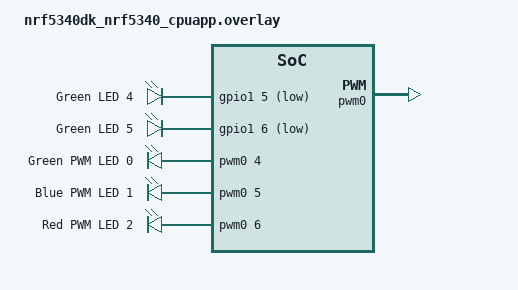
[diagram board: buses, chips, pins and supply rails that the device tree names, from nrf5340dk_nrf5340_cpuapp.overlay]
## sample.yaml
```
sample:
  name: OpenThread CoAP Server
  description: Test CoAP communication in Thread network
tests:
  samples.openthread.coap_server:
    build_only: true
    platform_allow: nrf5340dk_nrf5340_cpuapp nrf52840dk_nrf52840 nrf52833dk_nrf52833 nrf21540dk_nrf52840
    tags: ci_build drivers pwm
    filter: dt_enabled_alias_with_parent_compat("led0", "gpio-leds") and
            dt_alias_exists("red-pwm-led") and
            dt_alias_exists("green-pwm-led") and
            dt_alias_exists("blue-pwm-led")
    depends_on: gpio pwm
    harness: led
    integration_platforms:
      - nrf5340dk_nrf5340_cpuapp
      - nrf52840dk_nrf52840
      - nrf52833dk_nrf52833
      - nrf21540dk_nrf52840
```

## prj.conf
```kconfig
#
# Copyright (c) 2020 Nordic Semiconductor
#
# SPDX-License-Identifier: LicenseRef-Nordic-5-Clause
#

# nRF board library
CONFIG_DK_LIBRARY=y

# Enable OpenThread CoAP support API
CONFIG_OPENTHREAD_COAP=y

# Configure sample logging setting
CONFIG_COAP_SERVER_LOG_LEVEL_DBG=y
CONFIG_OT_COAP_UTILS_LOG_LEVEL_DBG=y

# Network shell
CONFIG_SHELL=y
CONFIG_OPENTHREAD_SHELL=y
CONFIG_SHELL_ARGC_MAX=26
CONFIG_SHELL_CMD_BUFF_SIZE=416

# Network sockets
CONFIG_NET_SOCKETS=y
CONFIG_NET_SOCKETS_POSIX_NAMES=y
CONFIG_NET_SOCKETS_POLL_MAX=4

# Same network Master Key for client and server
CONFIG_OPENTHREAD_NETWORKKEY="00:11:22:33:44:55:66:77:88:99:aa:bb:cc:dd:ee:ff"

CONFIG_GPIO=y
CONFIG_PWM=y

CONFIG_PRINTK=y
CONFIG_LOG=y
```

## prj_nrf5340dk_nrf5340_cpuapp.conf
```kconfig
#
# Copyright (c) 2020 Nordic Semiconductor
#
# SPDX-License-Identifier: LicenseRef-Nordic-5-Clause
#

# nRF board library
CONFIG_DK_LIBRARY=y

# Enable OpenThread CoAP support API
CONFIG_OPENTHREAD_COAP=y

# Configure sample logging setting
CONFIG_COAP_SERVER_LOG_LEVEL_DBG=y
CONFIG_OT_COAP_UTILS_LOG_LEVEL_DBG=y

# Network shell
CONFIG_NET_SHELL=y
CONFIG_SHELL_ARGC_MAX=26
CONFIG_SHELL_CMD_BUFF_SIZE=416

# Network sockets
CONFIG_NET_SOCKETS=y
CONFIG_NET_SOCKETS_POSIX_NAMES=y
CONFIG_NET_SOCKETS_POLL_MAX=4

# Same network Master Key for client and server
CONFIG_OPENTHREAD_NETWORKKEY="00:11:22:33:44:55:66:77:88:99:aa:bb:cc:dd:ee:ff"

# Default PRNG entropy for nRF53 Series devices is CSPRNG CC312
# which for that purpose is too slow yet
# Use Xoroshiro128+ as PRNG
CONFIG_XOROSHIRO_RANDOM_GENERATOR=y

CONFIG_GPIO=y
```

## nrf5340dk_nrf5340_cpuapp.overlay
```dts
/ {
	leds {
		led4: led_4 {
			gpios = <&gpio1 5 GPIO_ACTIVE_LOW>; /* LED3 was using gpio0 31, change to 26 so it can be used by led4 */
			label = "Green LED 4";
		};
		led5: led_5 {
			gpios = <&gpio1 6 GPIO_ACTIVE_LOW>; /* LED3 was using gpio0 31, change to 26 so it can be used by led4 */
			label = "Green LED 5";
		};
	};
	pwmleds {
		compatible = "pwm-leds";
		pwm_led0_green: pwm_led_0 {
			pwms = <&pwm0 4>;
			label = "Green PWM LED 0";
		};
		pwm_led1_blue: pwm_led_1 {
			pwms = <&pwm0 5>;
			label = "Blue PWM LED 1";
		};
		pwm_led2_red: pwm_led_2 {
			pwms = <&pwm0 6>;
			label = "Red PWM LED 2";
		};
	};
	aliases {
		led4 = &led4;
		led5 = &led5;
		green-pwm-led-custom = &pwm_led0_green;
		blue-pwm-led-custom  = &pwm_led1_blue;
		red-pwm-led-custom  = &pwm_led2_red;
	};
};

&pwm0 {
	status = "okay";
	ch0-pin = <4>;
	ch0-inverted;
	ch1-pin = <5>;
	ch1-inverted;
	ch2-pin = <6>;
	ch2-inverted;
};
```

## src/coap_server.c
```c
// /*
//  * Copyright (c) 2020 Nordic Semiconductor ASA
//  *
//  * SPDX-License-Identifier: LicenseRef-Nordic-5-Clause
//  */
//
// #include <zephyr.h>
// #include <dk_buttons_and_leds.h>
// #include <logging/log.h>
// #include <net/openthread.h>
// #include <openthread/thread.h>
//
// #include "ot_coap_utils.h"
// #include "led_handler.h"
//
// LOG_MODULE_REGISTER(coap_server, CONFIG_COAP_SERVER_LOG_LEVEL);
//
// #define OT_CONNECTION_LED DK_LED1
// #define PROVISIONING_LED DK_LED3
// #define LIGHT_LED_1 CST_LED1
// #define LIGHT_LED_2 CST_LED2
//
// #define PERIOD_USEC	(1000000 / 50U)
//
// static struct k_work provisioning_work;
//
// static struct k_timer led_timer;
// static struct k_timer provisioning_timer;
//
// static void on_light_request(uint8_t command)
// {
// 	static uint8_t val;
//
//
// 	switch (command) {
// 	case THREAD_COAP_UTILS_LIGHT_1_CMD_ON:
// 		cst_gpio_set_led_on(LIGHT_LED_1);
// 		val = 1;
// 		break;
//
// 	case THREAD_COAP_UTILS_LIGHT_1_CMD_OFF:
// 		cst_gpio_set_led_off(LIGHT_LED_1);
// 		val = 0;
// 		break;
//
// 	case THREAD_COAP_UTILS_LIGHT_2_CMD_ON:
// 		cst_gpio_set_led_on(LIGHT_LED_2);
// 		val = 1;
// 		break;
//
// 	case THREAD_COAP_UTILS_LIGHT_2_CMD_OFF:
// 		cst_gpio_set_led_off(LIGHT_LED_2);
// 		val = 0;
// 		break;
//
// 	case THREAD_COAP_UTILS_LIGHT_CMD_TOGGLE:
// 		val = !val;
// 		cst_gpio_set_led(LIGHT_LED_1, val);
// 		cst_gpio_set_led(LIGHT_LED_2, val);
// 		break;
// 	case THREAD_COAP_UTILS_RED_LIGHT:
// 		rgb_leds_set_red(PERIOD_USEC);
// 		break;
// 	case THREAD_COAP_UTILS_GREEN_LIGHT:
// 		rgb_leds_set_green(PERIOD_USEC);
// 		break;
// 	case THREAD_COAP_UTILS_BLUE_LIGHT:
// 		rgb_leds_set_blue(PERIOD_USEC);
// 		break;
//
// 	default:
// 		break;
// 	}
// }
//
// static void activate_provisioning(struct k_work *item)
// {
// 	ARG_UNUSED(item);
//
// 	ot_coap_activate_provisioning();
//
// 	k_timer_start(&led_timer, K_MSEC(100), K_MSEC(100));
// 	k_timer_start(&provisioning_timer, K_SECONDS(5), K_NO_WAIT);
//
// 	LOG_INF("Provisioning activated");
// }
//
// static void deactivate_provisionig(void)
// {
// 	k_timer_stop(&led_timer);
// 	k_timer_stop(&provisioning_timer);
//
// 	if (ot_coap_is_provisioning_active()) {
// 		ot_coap_deactivate_provisioning();
// 		LOG_INF("Provisioning deactivated");
// 	}
// }
//
// static void on_provisioning_timer_expiry(struct k_timer *timer_id)
// {
// 	ARG_UNUSED(timer_id);
//
// 	deactivate_provisionig();
// }
//
// static void on_led_timer_expiry(struct k_timer *timer_id)
// {
// 	static uint8_t val = 1;
//
// 	ARG_UNUSED(timer_id);
//
// 	dk_set_led(PROVISIONING_LED, val);
// 	val = !val;
// }
//
// static void on_led_timer_stop(struct k_timer *timer_id)
// {
// 	ARG_UNUSED(timer_id);
//
// 	dk_set_led_off(PROVISIONING_LED);
// }
//
// static void on_button_changed(uint32_t button_state, uint32_t has_changed)
// {
// 	uint32_t buttons = button_state & has_changed;
//
// 	if (buttons & DK_BTN4_MSK) {
// 		k_work_submit(&provisioning_work);
// 	}
// }
//
// static void on_thread_state_changed(uint32_t flags, void *context)
// {
// 	struct openthread_context *ot_context = context;
//
// 	if (flags & OT_CHANGED_THREAD_ROLE) {
// 		switch (otThreadGetDeviceRole(ot_context->instance)) {
// 		case OT_DEVICE_ROLE_CHILD:
// 		case OT_DEVICE_ROLE_ROUTER:
// 		case OT_DEVICE_ROLE_LEADER:
// 			dk_set_led_on(OT_CONNECTION_LED);
// 			break;
//
// 		case OT_DEVICE_ROLE_DISABLED:
// 		case OT_DEVICE_ROLE_DETACHED:
// 		default:
// 			dk_set_led_off(OT_CONNECTION_LED);
// 			deactivate_provisionig();
// 			break;
// 		}
// 	}
// }
//
// #define SLEEP_TIME_MS   1000
//
// void main(void)
// {
// 	int ret;
//
// 	LOG_INF("Start CoAP-server sample");
//
//
// 	k_timer_init(&led_timer, on_led_timer_expiry, on_led_timer_stop);
// 	k_timer_init(&provisioning_timer, on_provisioning_timer_expiry, NULL);
//
// 	k_work_init(&provisioning_work, activate_provisioning);
//
// 	ret = ot_coap_init(&deactivate_provisionig, &on_light_request);
// 	if (ret) {
// 		LOG_ERR("Could not initialize OpenThread CoAP");
// 		goto end;
// 	}
//
// 	ret = dk_leds_init();
// 	// ret = cst_rgb_leds_init();
// 	ret = gpio_leds_init();
// 	cst_gpio_set_led_on(LIGHT_LED_2);
// 	// rgb_leds_set_blue(PERIOD_USEC);
// 	if (ret) {
// 		LOG_ERR("Could not initialize leds, err code: %d", ret);
// 		goto end;
// 	}
//
// 	ret = dk_buttons_init(on_button_changed);
// 	if (ret) {
// 		LOG_ERR("Cannot init buttons (error: %d)", ret);
// 		goto end;
// 	}
//
// 	//openthread_set_state_changed_cb(on_thread_state_changed);
// 	//openthread_start(openthread_get_default_context());
//
// end:
// 	return;
// }

/*
 * Copyright (c) 2016 Intel Corporation
 *
 * SPDX-License-Identifier: Apache-2.0
 */

/**
 * @file Sample app to demonstrate PWM-based RGB LED control
 */

#include <zephyr.h>
#include <sys/printk.h>
#include <device.h>
#include <drivers/pwm.h>

/*
 * Extract devicetree configuration.
 */

#define RED_NODE DT_ALIAS(red_pwm_led_custom)
#define GREEN_NODE DT_ALIAS(green_pwm_led_custom)
#define BLUE_NODE DT_ALIAS(blue_pwm_led_custom)

#if DT_NODE_HAS_STATUS(RED_NODE, okay)
#define RED_CTLR_NODE	DT_PWMS_CTLR(RED_NODE)
#define RED_CHANNEL	DT_PWMS_CHANNEL(RED_NODE)
#define RED_FLAGS	DT_PWMS_FLAGS(RED_NODE)
#else
#error "Unsupported board: red-pwm-led devicetree alias is not defined"
#define RED_CTLR_NODE	DT_INVALID_NODE
#define RED_CHANNEL	0
#define RED_FLAGS	0
#endif

#if DT_NODE_HAS_STATUS(GREEN_NODE, okay)
#define GREEN_CTLR_NODE	DT_PWMS_CTLR(GREEN_NODE)
#define GREEN_CHANNEL	DT_PWMS_CHANNEL(GREEN_NODE)
#define GREEN_FLAGS	DT_PWMS_FLAGS(GREEN_NODE)
#else
#error "Unsupported board: green-pwm-led devicetree alias is not defined"
#define GREEN_CTLR_NODE	DT_INVALID_NODE
#define GREEN_CHANNEL	0
#define GREEN_FLAGS	0
#endif

#if DT_NODE_HAS_STATUS(BLUE_NODE, okay)
#define BLUE_CTLR_NODE	DT_PWMS_CTLR(BLUE_NODE)
#define BLUE_CHANNEL	DT_PWMS_CHANNEL(BLUE_NODE)
#define BLUE_FLAGS	DT_PWMS_FLAGS(BLUE_NODE)
#else
#error "Unsupported board: blue-pwm-led devicetree alias is not defined"
#define BLUE_CTLR_NODE	DT_INVALID_NODE
#define BLUE_CHANNEL	0
#define BLUE_FLAGS	0
#endif

/*
 * 50 is flicker fusion threshold. Modulated light will be perceived
 * as steady by our eyes when blinking rate is at least 50.
 */
#define PERIOD_USEC	(1000000U / 50U)
#define STEPSIZE_USEC	2000

static int pwm_set(const struct device *pwm_dev, uint32_t pwm_pin,
		     uint32_t pulse_width, pwm_flags_t flags)
{
	return pwm_pin_set_usec(pwm_dev, pwm_pin, PERIOD_USEC, pulse_width, flags);
}

enum { RED, GREEN, BLUE };

void main(void)
{
	const struct device *pwm_dev[3];
	uint32_t pulse_red, pulse_green, pulse_blue; /* pulse widths */
	int ret;

	// printf("%", BLUE_CTLR_NODE);

	printk("PWM-based RGB LED control\n");

	pwm_dev[RED] = DEVICE_DT_GET(RED_CTLR_NODE);
	pwm_dev[GREEN] = DEVICE_DT_GET(GREEN_CTLR_NODE);
	pwm_dev[BLUE] = DEVICE_DT_GET(BLUE_CTLR_NODE);

	if (!device_is_ready(pwm_dev[RED])) {
		printk("Error: red PWM device %s is not ready\n", pwm_dev[RED]->name);
		return;
	}

	if (!device_is_ready(pwm_dev[GREEN])) {
		printk("Error: green PWM device %s is not ready\n", pwm_dev[GREEN]->name);
		return;
	}

	if (!device_is_ready(pwm_dev[BLUE])) {
		printk("Error: blue PWM device %s is not ready\n", pwm_dev[BLUE]->name);
		return;
	}

	while (1) {
		for (pulse_red = 0U; pulse_red <= PERIOD_USEC; pulse_red += STEPSIZE_USEC) {
				ret = pwm_set(pwm_dev[RED], RED_CHANNEL, pulse_red, RED_FLAGS);
				if (ret != 0) {
					printk("Error %d: red write failed\n", ret);
					return;
				}
				printk("%i", pulse_red);
				k_sleep(K_SECONDS(1));
		}
  	ret = pwm_set(pwm_dev[RED], RED_CHANNEL, 0U, RED_FLAGS);

		if (ret != 0) {
            printk("Error %d: red write failed\n", ret);
            return;
    }


		k_sleep(K_SECONDS(1));
		for (pulse_green = 0U; pulse_green <= PERIOD_USEC; pulse_green += STEPSIZE_USEC) {
				ret = pwm_set(pwm_dev[GREEN], GREEN_CHANNEL,
					      pulse_green, GREEN_FLAGS);
				if (ret != 0) {
					printk("Error %d: green write failed\n", ret);
					return;
				}
				k_sleep(K_SECONDS(1));
		}

		ret = pwm_set(pwm_dev[GREEN], GREEN_CHANNEL, 0U, GREEN_FLAGS);
    if (ret != 0) {
            printk("Error %d: green write failed\n", ret);
            return;
    }
		k_sleep(K_SECONDS(1));
		//
		for (pulse_blue = 0U; pulse_blue <= PERIOD_USEC; pulse_blue += STEPSIZE_USEC) {
					ret = pwm_set(pwm_dev[BLUE], BLUE_CHANNEL, pulse_blue, BLUE_FLAGS);
					if (ret != 0) {
						printk("Error %d: blue write failed\n", ret);
						return;
					}
					k_sleep(K_SECONDS(1));
				}
			ret = pwm_set(pwm_dev[BLUE], BLUE_CHANNEL, 0U, BLUE_FLAGS);
	    if (ret != 0) {
	            printk("Error %d: blue write failed\n", ret);
	            return;
	    }
			k_sleep(K_SECONDS(1));
	}
}
```

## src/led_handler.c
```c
#include "led_handler.h"
#include <zephyr.h>
#include <logging/log.h>
#include <device.h>
#include <devicetree.h>
#include <drivers/gpio.h>
#include <drivers/pwm.h>

LOG_MODULE_REGISTER(led_handler, CONFIG_LOG_DEFAULT_LEVEL);

#define RED_NODE DT_ALIAS(red_pwm_led_custom)
#define GREEN_NODE DT_ALIAS(green_pwm_led_custom)
#define BLUE_NODE DT_ALIAS(blue_pwm_led_custom)

#if DT_NODE_HAS_STATUS(RED_NODE, okay)
#define RED_CTLR_NODE	DT_PWMS_CTLR(RED_NODE)
#define RED_CHANNEL	DT_PWMS_CHANNEL(RED_NODE)
#define RED_FLAGS	DT_PWMS_FLAGS(RED_NODE)
#endif

#if DT_NODE_HAS_STATUS(GREEN_NODE, okay)
#define GREEN_CTLR_NODE	DT_PWMS_CTLR(GREEN_NODE)
#define GREEN_CHANNEL	DT_PWMS_CHANNEL(GREEN_NODE)
#define GREEN_FLAGS	DT_PWMS_FLAGS(GREEN_NODE)
#endif

#if DT_NODE_HAS_STATUS(BLUE_NODE, okay)
#define BLUE_CTLR_NODE	DT_PWMS_CTLR(BLUE_NODE)
#define BLUE_CHANNEL	DT_PWMS_CHANNEL(BLUE_NODE)
#define BLUE_FLAGS	DT_PWMS_FLAGS(BLUE_NODE)
#endif

#define PERIOD_USEC	(1000000 / 50U)
#define STEPSIZE_USEC	2000

struct gpio_pin {
	const char * const port;
	const uint8_t number;
	const uint8_t flags;
};

static const struct gpio_pin led_pins_cst[] = {
#if DT_NODE_HAS_STATUS(DT_ALIAS(led4), okay)
  {DT_GPIO_LABEL(DT_ALIAS(led4), gpios),
    DT_GPIO_PIN(DT_ALIAS(led4), gpios),
    DT_GPIO_FLAGS(DT_ALIAS(led4), gpios)},
#endif
#if DT_NODE_HAS_STATUS(DT_ALIAS(led5), okay)
	{DT_GPIO_LABEL(DT_ALIAS(led5), gpios),
    DT_GPIO_PIN(DT_ALIAS(led5), gpios),
    DT_GPIO_FLAGS(DT_ALIAS(led5), gpios)},
#endif
};

// static const struct device *led_devs_cst[ARRAY_SIZE(led_pins_cst)];
// static const struct device *rgb_devs_cst[3];

int pwm_set(const struct device *pwm_dev, uint32_t pwm_pin, uint32_t pulse_width, uint8_t flags) {
	return pwm_pin_set_usec(pwm_dev, pwm_pin, PERIOD_USEC, pulse_width, flags);
}

int gpio_leds_init(void) {
	// int err;
	// for (size_t i = 0; i < ARRAY_SIZE(led_pins_cst); i++) {
	//
	// 	led_devs_cst[i] = device_get_binding(led_pins_cst[i].port);
	// 	if (!led_devs_cst[i]) {
	// 		LOG_ERR("Cannot bind gpio device");
	// 		return -ENODEV;
	// 	}
	//
	// 	err = gpio_pin_configure(led_devs_cst[i], led_pins_cst[i].number,
	// 				 GPIO_OUTPUT_ACTIVE | led_pins_cst[i].flags);
	// 	if (err) {
	// 		LOG_ERR("Cannot configure LED gpio");
	// 		return err;
	// 	}
	// 	LOG_INF("%s, %i, %i", led_pins_cst[i].port, led_pins_cst[i].number, led_pins_cst[i].flags);
	// }
        return 0;
}

// int cst_rgb_leds_init(void) {
// 	int err = 0;
//         // DEVICE_DT_GET(RED_CTLR_NODE)
// 	rgb_devs_cst[RED] = DEVICE_DT_GET(RED_CTLR_NODE);
// 	//rgb_devs_cst[GREEN] = DEVICE_DT_GET(GREEN_CTLR_NODE);
// 	//rgb_devs_cst[BLUE] = DEVICE_DT_GET(BLUE_CTLR_NODE);
//
// 	//if (!device_is_ready(rgb_devs_cst[RED])) {
// 	//	LOG_ERR("Error: red PWM device %s is not ready\n", rgb_devs_cst[RED]->name);
// 	//}
// 	//if (!device_is_ready(rgb_devs_cst[GREEN])) {
// 	//	LOG_ERR("Error: green PWM device %s is not ready\n", rgb_devs_cst[GREEN]->name);
// 	//}
// 	//if (!device_is_ready(rgb_devs_cst[BLUE])) {
// 	//	LOG_ERR("Error: blue PWM device %s is not ready\n", rgb_devs_cst[BLUE]->name);
// 	//}
//   return err;
// }



int rgb_leds_set_red(uint32_t pulse_red) {
	int err = 0;
	const struct device *pwm;
	// pwm = DEVICE_DT_GET(RED_CTLR_NODE);
	// if (!device_is_ready(pwm)) {
	// 	LOG_ERR("Error: PWM device %s is not ready\n", pwm->name);
	// 	return 0;
	// }
	//pwm_set(pwm, RED_CHANNEL, pulse_red, RED_FLAGS);
	//if (err != 0) {
	//	LOG_ERR("Error %d: red write failed\n", err);
	//}
	return 0;
}

int rgb_leds_set_green(uint32_t pulse_green) {
	int err = 0;
	//err = pwm_set(rgb_devs_cst[GREEN], GREEN_CHANNEL, pulse_green, GREEN_FLAGS);
	if (err != 0) {
		LOG_ERR("Error %d: green write failed\n", err);
	}
	return err;
}

int rgb_leds_set_blue(uint32_t pulse_blue) {
	int err = 0;
	// err = pwm_set(rgb_devs_cst[BLUE], BLUE_CHANNEL, pulse_blue, BLUE_FLAGS);
	if (err != 0) {
		LOG_ERR("Error %d: green write failed\n", err);
	}
	return err;
}

int cst_gpio_set_led(uint8_t led_idx, uint32_t val) {
	int err = 0;

	if (led_idx >= ARRAY_SIZE(led_pins_cst)) {
		LOG_ERR("LED index out of the range");
		return -EINVAL;
	}
	// err = gpio_pin_set(led_devs_cst[led_idx], led_pins_cst[led_idx].number, IS_ENABLED(CONFIG_DK_LIBRARY_INVERT_LEDS) ? !val : val);
  //      k_msleep(1000);
	// if (err) {
	// 	LOG_ERR("Cannot write LED gpio");
	// }
	// else {
  //              LOG_INF("GPIO %i is set to %i", led_idx, val);
	// }
	return err;
}

int cst_gpio_set_led_on(uint8_t led_idx) {
	return cst_gpio_set_led(led_idx, 1);
}

int cst_gpio_set_led_off(uint8_t led_idx) {
	return cst_gpio_set_led(led_idx, 0);
}
```

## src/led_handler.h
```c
#ifndef __CUSTOM_LEDS_H__
#define __CUSTOM_LEDS_H__

/** @file led_handler.h
 * @brief Module for handling custom LEDs for my Nordic nrf5340 DK.
 * @{
 */

#include <zephyr.h>
#include <device.h>
#include <devicetree.h>
#include <drivers/gpio.h>

#define CST_LED1           0
#define CST_LED2           1
//#define DK_LED3           2
//#define DK_LED4           3

#define RGBLEDS 						3
#define RGBLEDS_AMOUNT      1


enum { RED, GREEN, BLUE };

/** @brief Initialize the gpio's to control the LEDs.
 *
 *  @retval 0           If the operation was successful.
 *                      Otherwise, a (negative) error code is returned.
 */
int gpio_leds_init(void);

int cst_rgb_leds_init(void);

/** @brief Set a single LED value.
 *
 *  This function turns a single LED on or off.
 *
 *  @param led_idx Index of the LED.
 *  @param val     Value for the LED: 1 - turn on, 0 - turn off
 *
 *  @retval 0           If the operation was successful.
 *                      Otherwise, a (negative) error code is returned.
 *
 *  @sa dk_set_led_on, dk_set_led_off
 */
int cst_gpio_set_led(uint8_t led_idx, uint32_t val);

/** @brief Turn a single LED on.
 *
 *  @param led_idx Index of the LED.
 *
 *  @retval 0           If the operation was successful.
 *                      Otherwise, a (negative) error code is returned.
 */
int cst_gpio_set_led_on(uint8_t led_idx);

int pwm_set(const struct device *pwm_dev, uint32_t pwm_pin, uint32_t pulse_width, uint8_t flags);

int rgb_leds_set_red(uint32_t pulse_red);

int rgb_leds_set_green(uint32_t pulse_green);

int rgb_leds_set_blue(uint32_t pulse_blue);

/** @brief Turn a single LED off.
 *
 *  @param led_idx Index of the LED.
 *
 *  @retval 0           If the operation was successful.
 *                      Otherwise, a (negative) error code is returned.
 */
int cst_gpio_set_led_off(uint8_t led_idx);

#endif
```
